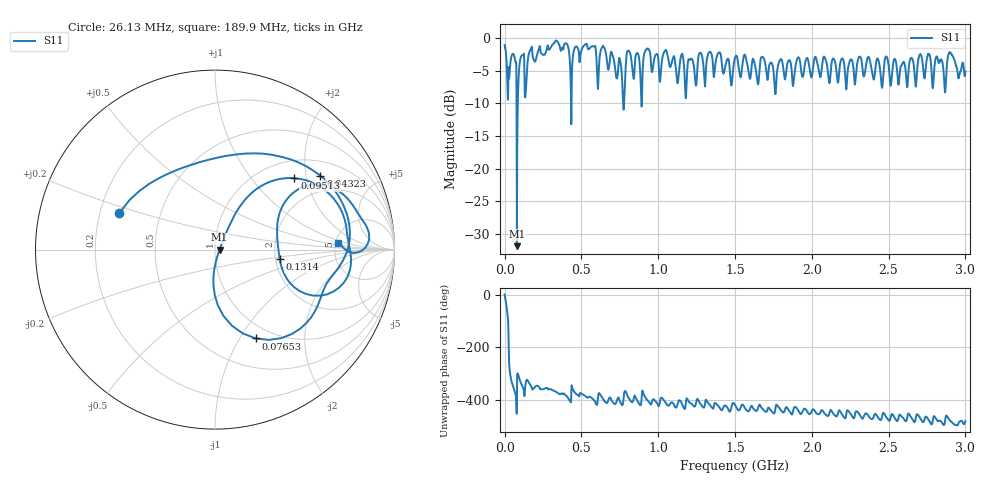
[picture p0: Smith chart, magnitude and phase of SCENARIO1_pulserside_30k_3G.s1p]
!Agilent N9914A: A.07.26
!Date: Monday, 20 February 2023 13:56:21
!Model: N9914A
!Serial: MY53102584
!GPS Latitude:
!GPS Longitude:
!GPS TimeStamp: 0001-01-01 00:00:00Z
!GPS Seconds Since Last Read: 0
!CHECKSUM:1681958176
!Correction: S11(ON U)
!S1P File: Measurement: S11:
# Hz S DB R 50
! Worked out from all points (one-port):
!   10001 points, 30 kHz to 3 GHz, reference 50 ohm
!   lowest |S11| = -31.9 dB at 80.13 MHz (marker M1), VSWR 1.05, Z = 52.6 - j0.0294 ohm
!   |S11| at or under -10 dB: 77.7 MHz to 85.9 MHz (8.205 MHz wide, 10 % of centre); 432.4 MHz to 435.6 MHz (3.125 MHz wide, 0.72 % of centre); 771.7 MHz to 778 MHz (6.304 MHz wide, 0.814 % of centre)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
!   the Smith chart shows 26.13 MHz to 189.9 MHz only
!   S11 on the Smith chart (normalised r, x): 26.13 MHz: 0.28, +0.17; 43.23 MHz: 1.43, +2.42; 76.53 MHz: 0.83, -1.18; 95.13 MHz: 1.38, +1.70; 131.4 MHz: 2.10, -0.25; 189.9 MHz: 5.23, +0.72
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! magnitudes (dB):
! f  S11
! 30 kHz  -1.0
! 26.13 MHz  -4.9
! 43.23 MHz  -2.9
! 61.83 MHz  -2.6
! 76.53 MHz  -5.3
! 80.13 MHz  -31.9
! 95.13 MHz  -4.5
! 111.9 MHz  -2.6
! 131.4 MHz  -8.8
! 189.9 MHz  -3.3
! 375 MHz  -1.4
! 433.5 MHz  -12.5
! 459.9 MHz  -1.3
! 524.1 MHz  -0.9
! 750 MHz  -3.2
! 773.4 MHz  -10.7
! 807.3 MHz  -1.9
! 888.9 MHz  -9.0
! 928.8 MHz  -1.6
! 1.125 GHz  -6.9
! 1.5 GHz  -3.0
! 1.875 GHz  -7.0
! 2.25 GHz  -3.4
! 2.625 GHz  -6.8
! 2.761 GHz  -2.4
! 2.867 GHz  -8.2
! 2.902 GHz  -2.2
! 3 GHz  -5.1
